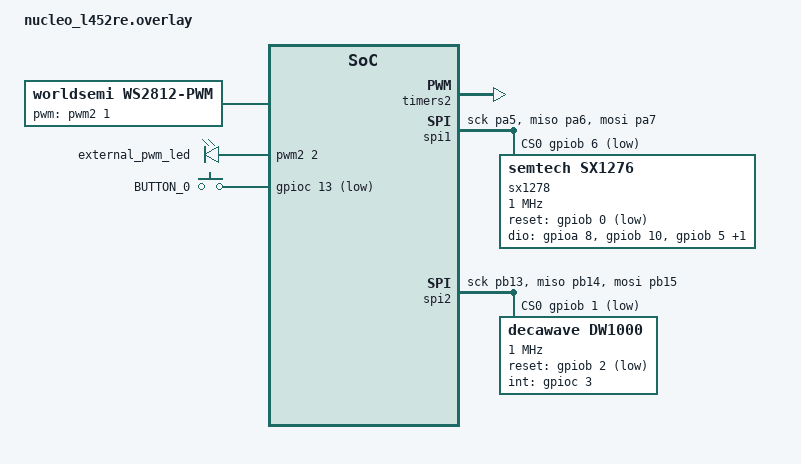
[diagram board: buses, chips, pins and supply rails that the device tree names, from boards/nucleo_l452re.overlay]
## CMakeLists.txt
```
cmake_minimum_required(VERSION 3.20)

if(NOT DEFINED BOARD)
    set(BOARD nucleo_l452re)
#    set(BOARD rs_0015_100)
endif()

include(${CMAKE_CURRENT_SOURCE_DIR}/../modules/rts-zephyr/clion-zephyr.cmake)

project(brigade_chief_russia_railways VERSION 0.0.0)
FILE(GLOB_RECURSE SOURCES src/*.c src/*.cc src/*.cpp)
target_sources(app PRIVATE ${SOURCES})
target_include_directories(app PRIVATE ${CMAKE_CURRENT_SOURCE_DIR}/src/libs)
```

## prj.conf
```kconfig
# Common CONFIG begin
CONFIG_CPLUSPLUS=y
CONFIG_LIB_CPLUSPLUS=y
CONFIG_STD_CPP17=y
CONFIG_SYSTEM_WORKQUEUE_PRIORITY=0
# Common CONFIG end

# LoRa CONFIG begin
CONFIG_LORA=y
CONFIG_LORA_SX12XX=y
CONFIG_LORA_SX127X=y
CONFIG_HAS_SEMTECH_RADIO_DRIVERS=y
# LoRa CONFIG end

# WS2812 CONFIG begin
CONFIG_LED_STRIP=y
CONFIG_WS2812_STRIP=y
CONFIG_LED_UTILS=y
CONFIG_WS2812_STRIP_PWM=y
# WS2812 CONFIG end

# # DWM1000 CONFIG begin
CONFIG_MESHPOSITION=y
CONFIG_DW1000=y
CONFIG_DW1000_STARTUP_LOADUCODE=y
# # DWM1000 CONFIG end

# RNG GONFIG begin
CONFIG_ENTROPY_GENERATOR=y
CONFIG_ENTROPY_DEVICE_RANDOM_GENERATOR=y
CONFIG_ENTROPY_STM32_RNG=y
# RNG GONFIG end

# Peripherals CONFIG begin
CONFIG_PINCTRL=y
CONFIG_GPIO=y
CONFIG_SPI=y
CONFIG_SPI_STM32_DMA=y
CONFIG_SPI_STM32_INTERRUPT=n
CONFIG_SPI_ASYNC=n
CONFIG_SPI_STM32_USE_HW_SS=n
CONFIG_PWM=y
CONFIG_DMA=y
# Peripherals CONFIG end

# Print CONFIG begin
CONFIG_NEWLIB_LIBC=y
CONFIG_NEWLIB_LIBC_FLOAT_PRINTF=y
CONFIG_PRINTK=y
# Print CONFIG end

# Russia railways CONFIG begin
CONFIG_LORA_RR=y
CONFIG_DWM_RR=y
CONFIG_INDICATION_RR=y
CONFIG_CURRENT_DEVICE_NUM=2
CONFIG_NUMBER_OF_DEVICES=3
# Russia railways CONFIG end

# Stack CONFIG begin
CONFIG_MAIN_STACK_SIZE=4096
# CONFIG_IDLE_STACK_SIZE=4096
# CONFIG_LOG_PROCESS_THREAD_STACK_SIZE=4096
# CONFIG_SYSTEM_WORKQUEUE_STACK_SIZE=4096
# Stack CONFIG end
```

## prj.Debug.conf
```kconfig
# Optimize for debug
CONFIG_DEBUG_OPTIMIZATIONS=y

CONFIG_LOG=y
CONFIG_LOG_DEFAULT_LEVEL=0
CONFIG_LOG_BACKEND_UART=y

CONFIG_LORA_LOG_LEVEL_DBG=y
CONFIG_SPI_LOG_LEVEL_DBG=n
CONFIG_LED_STRIP_LOG_LEVEL_DBG=y

CONFIG_PRINTK=y

# CONFIG_SHELL=y
```

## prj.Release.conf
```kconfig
# Optimize for speed.
CONFIG_SPEED_OPTIMIZATIONS=y
# Disable assertions in the Zephyr Kernel.
# This improves the execution speed and prevents a CMake configure warning.
CONFIG_ASSERT=n
CONFIG_CONSOLE=n
CONFIG_LOG_BACKEND_UART=n
```

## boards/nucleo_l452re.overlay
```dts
/*
 * SPDX-License-Identifier: Apache-2.0
 *
 * Copyright (c) 2021 Planet Innovation
 */
#include <dt-bindings/led/led.h>

/ {
    led_strip: ws2812 {
        compatible = "worldsemi,ws2812-pwm";
        label = "WS2812";
        chain-length = <16>; /* arbitrary */
        color-mapping = <LED_COLOR_ID_GREEN
                         LED_COLOR_ID_RED
                         LED_COLOR_ID_BLUE>;
        pwms = <&pwm2 1 0 PWM_POLARITY_NORMAL>;
        period-ns = <1250>;
    };

    pwmleds {
        compatible = "pwm-leds";
        external_pwm_led: external_pwm_led {
            pwms = <&pwm2 2 0 PWM_POLARITY_NORMAL>;
        };
    };

      gpio_keys {
        compatible = "gpio-keys";
        button_0: button_0 {
            label = "BUTTON_0";
            status = "okay";
            gpios = <&gpioc 13 (GPIO_ACTIVE_LOW | GPIO_PUSH_PULL)>;
        };
/*
        button_0: button_0 {
            label = "BUTTON_0";
            status = "okay";
            gpios = <&gpioc 0 (GPIO_ACTIVE_HIGH | GPIO_PUSH_PULL)>;
        };

        button_1: button_1 {
            label = "BUTTON_1";
            status = "okay";
            gpios = <&gpioc 1 (GPIO_ACTIVE_HIGH | GPIO_PUSH_PULL)>;
        };

        button_2: button_2 {
            label = "BUTTON_2";
            status = "okay";
            gpios = <&gpioa 4 (GPIO_ACTIVE_HIGH | GPIO_PUSH_PULL)>;
        };
        */
    };

	  aliases {
        sw0 = &button_0;
        /*
        sw0 = &button_0;
        sw1 = &button_1;
        sw2 = &button_2;
         */
        led-strip = &led_strip;
        pwm-sound = &external_pwm_led;
    };
};

&timers2 {
    status = "okay";
    pwm2: pwm {
        status = "okay";
        pinctrl-0 = <&tim2_ch1_pa0 &tim2_ch2_pa1>;
        pinctrl-names = "default";
    };
};

&dma1 {
    status = "okay";
};

&dma2 {
    status = "okay";
};

&spi1 {
    status = "okay";
    pinctrl-0 = <&spi1_sck_pa5 &spi1_miso_pa6 &spi1_mosi_pa7>;
    pinctrl-names = "default";
    cs-gpios = <&gpiob 6 (GPIO_ACTIVE_LOW)>;
    dmas = <&dma2 4 4 0x20440>, <&dma2 3 4 0x20480>;
    dma-names = "tx", "rx";
    lora0: sx1278@0 {
        compatible = "semtech,sx1276";
        reg = <0>;
        label = "sx1278";
        reset-gpios = <&gpiob 0 (GPIO_ACTIVE_LOW | GPIO_OPEN_DRAIN)>; // GPIO_ACTIVE_LOW
        dio-gpios = <&gpioa 8 (GPIO_ACTIVE_HIGH | GPIO_PULL_DOWN)>,
                    <&gpiob 10 (GPIO_ACTIVE_HIGH | GPIO_PULL_DOWN)>,
                    <&gpiob 5 (GPIO_ACTIVE_HIGH | GPIO_PULL_DOWN)>,
                    <&gpioc 2 (GPIO_ACTIVE_HIGH | GPIO_PULL_DOWN)>;
        power-amplifier-output = "pa-boost";
        spi-max-frequency = <1000000>;
    };
};

&spi2 {
    status = "okay";
    pinctrl-0 = <&spi2_sck_pb13 &spi2_miso_pb14 &spi2_mosi_pb15>;
    pinctrl-names = "default";
    cs-gpios = <&gpiob 1 (GPIO_ACTIVE_LOW | GPIO_PULL_UP)>;
    status = "okay";
    dmas = <&dma1 5 1 0x20440>, <&dma1 4 1 0x20480>;
    dma-names = "tx", "rx";
    uwb: dw1000@0 {
        compatible = "decawave,dw1000";
        reg = <0>;
        label = "DW1000";
        spi-max-frequency = <1000000>;
        reset-gpios = <&gpiob 2 (GPIO_ACTIVE_LOW)>;
        int-gpios = <&gpioc 3 (GPIO_ACTIVE_HIGH | GPIO_PULL_DOWN)>;
        tx-ant-delay=<0x4042>;
        rx-ant-delay=<0x4042>;
    };
};

&clk_hsi {
    status = "okay";
};

&pll {
    status = "okay";
    div-m = <1>;            /*  16 / 1  = 16MHz  */
    mul-n = <20>;           /*  16 * 20 = 320MHz */
    div-r = <4>;            /* 128 / 2  = 80MHz  */
    clocks = <&clk_hsi>;
};

&rcc {
    status = "okay";
    clocks = <&pll>;
    clock-frequency = <DT_FREQ_M(80)>;
    ahb-prescaler = <1>;
    apb1-prescaler = <1>;
    apb2-prescaler = <1>;
};
```

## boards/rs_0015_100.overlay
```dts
#include <dt-bindings/led/led.h>

/ {
    led_strip: ws2812 {
        compatible = "worldsemi,ws2812-pwm";
        label = "WS2812";
        chain-length = <16>; /* arbitrary */
        color-mapping = <LED_COLOR_ID_GREEN
                         LED_COLOR_ID_RED
                         LED_COLOR_ID_BLUE>;
        pwms = <&pwm2 3 0 PWM_POLARITY_NORMAL>;
        period-ns = <1150>;
    };

    pwmleds {
        compatible = "pwm-leds";
        external_pwm_led: external_pwm_led {
            pwms = <&pwm15 2 0 PWM_POLARITY_NORMAL>;
        };
    };

    gpio_keys {
        compatible = "gpio-keys";
        button_0: button_0 {
            label = "BUTTON_0";
            status = "okay";
            gpios = <&gpioa 0 (GPIO_ACTIVE_HIGH | GPIO_PUSH_PULL)>;
        };
    };

	  aliases {
        led-strip = &led_strip;
        pwm-sound = &external_pwm_led;
        sw0 = &button_0;
    };
};

&timers2 {
    status = "okay";
    pwm2: pwm {
        status = "okay";
        pinctrl-0 = <&tim2_ch3_pa2>;
        pinctrl-names = "default";
    };
};

&timers15 {
    status = "okay";
    st,prescaler = <10000>;
    pwm15: pwm {
        status = "okay";
        pinctrl-0 = <&tim15_ch2_pa3>;
        pinctrl-names = "default";
    };
};

&dma2 {
    status = "okay";
};

&spi1 {
    status = "okay";
    pinctrl-0 = <&spi1_sck_pb3 &spi1_miso_pb4 &spi1_mosi_pb5>;
    pinctrl-names = "default";
    status = "okay";
    cs-gpios = <&gpioa 12 (GPIO_ACTIVE_LOW)>;
    dmas = <&dma2 4 4 0x20440>, <&dma2 3 4 0x20480>;
    dma-names = "tx", "rx";
    lora0: sx1276@0 {
        status = "okay";
        compatible = "semtech,sx1276";
        reg = <0>;
        label = "sx1276";
        reset-gpios = <&gpiob 8 (GPIO_ACTIVE_LOW | GPIO_OPEN_DRAIN)>; // GPIO_ACTIVE_LOW
        dio-gpios = <&gpiob 6 (GPIO_ACTIVE_HIGH | GPIO_PULL_DOWN)>,
                    <&gpioa 10 (GPIO_ACTIVE_HIGH | GPIO_PULL_DOWN)>,
                    <&gpioa 11 (GPIO_ACTIVE_HIGH | GPIO_PULL_DOWN)>,
                    <&gpioc 14 (GPIO_ACTIVE_HIGH | GPIO_PULL_DOWN)>;
        power-amplifier-output = "pa-boost";
        spi-max-frequency = <5000000>;
    };
};

&spi2 {
    pinctrl-0 = <&spi2_sck_pb13 &spi2_miso_pb14 &spi2_mosi_pb15>;
    pinctrl-names = "default";
    cs-gpios = <&gpiob 12 (GPIO_ACTIVE_LOW | GPIO_PULL_UP)>;
    status = "okay";
    dmas = <&dma1 5 1 0x20440>, <&dma1 4 1 0x20480>;
    dma-names = "tx", "rx";
    uwb: dw1000@0 {
        compatible = "decawave,dw1000";
        reg = <0>;
        label = "DW1000";
        spi-max-frequency = <1000000>;
        reset-gpios = <&gpiob 2 GPIO_ACTIVE_LOW>;
        int-gpios = <&gpioa 15 (GPIO_PULL_DOWN | GPIO_ACTIVE_HIGH)>;
        tx-ant-delay=<0x4042>;
        rx-ant-delay=<0x4042>;
    };
};

&usart2 {
    status = "disabled";
};

&led0 {
    status = "disabled";
};

&led1 {
    status = "disabled";
};

&clk_hsi {
    status = "okay";
};

&pll {
    status = "okay";
    div-m = <1>;            /*  16 / 1  = 16MHz  */
    mul-n = <20>;           /*  16 * 20 = 320MHz */
    div-r = <4>;            /* 128 / 2  = 80MHz  */
    clocks = <&clk_hsi>;
};

&rcc {
    status = "okay";
    clocks = <&pll>;
    clock-frequency = <DT_FREQ_M(80)>;
    ahb-prescaler = <1>;
    apb1-prescaler = <1>;
    apb2-prescaler = <1>;
};
```

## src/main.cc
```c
#include "lora_rr/lora_rr_common.h"
#include "dwm_rr/dwm_rr_common.h"

#define STACK_SIZE 2048

#define PRIORITY_PROC 6
#define PRIORITY_APP_TASK 5
#define PRIORITY_DWM_TASK 6
#define PRIORITY_INDICATION_TASK 7
#define PRIORITY_MODEM_TASK 5

//K_THREAD_DEFINE(proc_task_id, STACK_SIZE,
//                proc_task, NULL, NULL, NULL,
//                PRIORITY_PROC, 0, 0);
//K_THREAD_DEFINE(modem_task_id, STACK_SIZE,
//                modem_task, NULL, NULL, NULL,
//                PRIORITY_MODEM_TASK, 0, 0);
K_THREAD_DEFINE(app_task_id, STACK_SIZE,
                app_task, NULL, NULL, NULL,
                PRIORITY_APP_TASK, 0, 0);
K_THREAD_DEFINE(dwm_task_id, STACK_SIZE,
                dwm_task, NULL, NULL, NULL,
                PRIORITY_DWM_TASK, 0, 0);
K_THREAD_DEFINE(update_indication_task_id, STACK_SIZE,
                update_indication_task, NULL, NULL, NULL,
                PRIORITY_INDICATION_TASK, 0, 0);
```
